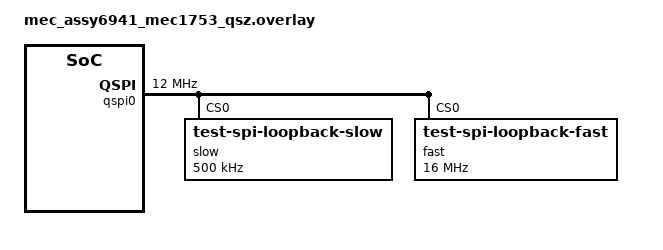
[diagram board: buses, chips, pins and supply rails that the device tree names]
/*
 * Copyright (c) 2024 Microchip Technology Inc.
 * SPDX-License-Identifier: Apache-2.0
 */

/ {
	aliases {
		spi0 = &qspi0;
	};
};

/* Loopback requires wire connecting pin_qspi_shd_io0 to pin_qspi_shd_io1 */

&qspi0 {
	status = "okay";
	compatible = "microchip,mec5-qspi";
	clock-frequency = <12000000>;

	pinctrl-0 = <&pin_qspi_shd_cs0_n &pin_qspi_shd_clk
		     &pin_qspi_shd_io0 &pin_qspi_shd_io1>;
	pinctrl-names = "default";

	slow@0 {
		compatible = "test-spi-loopback-slow";
		reg = <0>;
		spi-max-frequency = <500000>;
	};

	fast@0 {
		compatible = "test-spi-loopback-fast";
		reg = <0>;
		spi-max-frequency = <16000000>;
	};
};
